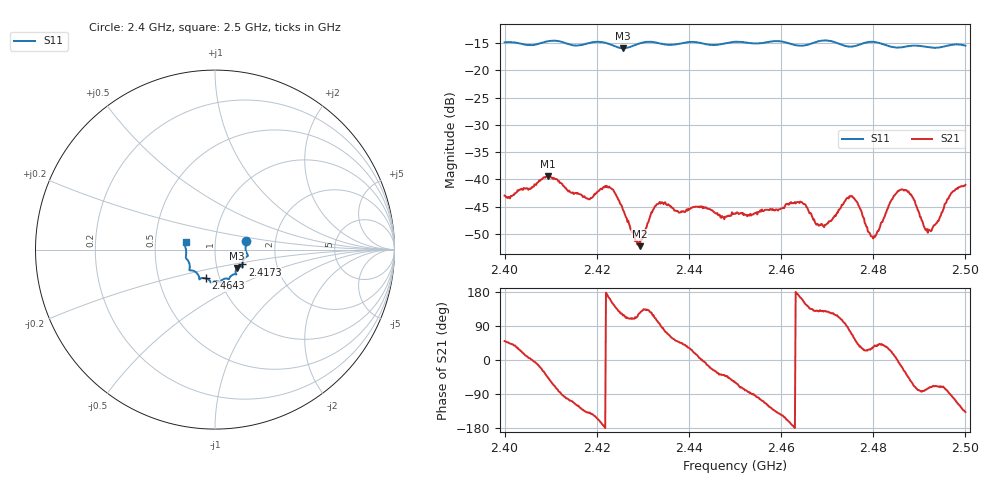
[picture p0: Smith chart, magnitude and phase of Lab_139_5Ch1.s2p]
# Hz S RI R 50
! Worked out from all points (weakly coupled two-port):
!   601 points, 2.4 GHz to 2.5 GHz, reference 50 ohm
!   highest |S21| = -39.44 dB at 2.4093 GHz (marker M1); lowest = -52.2 dB at 2.4293 GHz (marker M2)
!   lowest |S11| = -15.9 dB at 2.4257 GHz (marker M3), VSWR 1.38, Z = 62.4 - j13.1 ohm
!   |S11| at or under -10 dB: start of sweep to end of sweep
!   S12 and S22 are empty: the file has one direction only
!   S11 on the Smith chart (normalised r, x): 2.4 GHz: 1.41, +0.14; 2.4173 GHz: 1.34, -0.23; 2.4643 GHz: 0.86, -0.28; 2.5 GHz: 0.72, +0.06
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2.4e9  0.1736 0.0489  0.00458 0.00543  0 0  0 0
2.409333e9  0.1823 -0.0295  0.00754 -0.00755  0 0  0 0
2.416667e9  0.1533 -0.075  -0.00454 -0.0056  0 0  0 0
2.417333e9  0.1525 -0.0826  -0.00492 -0.00497  0 0  0 0
2.422333e9  0.1493 -0.0944  -0.00839 0.00136  0 0  0 0
2.425667e9  0.1225 -0.1021  -0.00245 0.00467  0 0  0 0
2.428333e9  0.1151 -0.1262  -0.00106 0.0025  0 0  0 0
2.429333e9  0.1164 -0.1332  -0.00136 0.00203  0 0  0 0
2.433333e9  0.1131 -0.1369  -0.000921 0.00588  0 0  0 0
2.45e9  0.0292 -0.1804  0.0025 -0.00416  0 0  0 0
2.464333e9  -0.0502 -0.1604  -0.00596 0.00174  0 0  0 0
2.466667e9  -0.076 -0.1592  -0.00325 0.00331  0 0  0 0
2.469667e9  -0.0877 -0.1661  -0.00244 0.00296  0 0  0 0
2.475333e9  -0.109 -0.124  0.00267 0.00652  0 0  0 0
2.48e9  -0.1429 -0.1136  0.00236 0.00163  0 0  0 0
2.483333e9  -0.1406 -0.09  0.00502 0.00277  0 0  0 0
2.485333e9  -0.1463 -0.0689  0.00781 -0.000212  0 0  0 0
2.487333e9  -0.1569 -0.0543  0.00598 -0.00507  0 0  0 0
2.491333e9  -0.1615 -0.0317  0.000685 -0.00339  0 0  0 0
2.492333e9  -0.1609 -0.0218  0.00109 -0.00322  0 0  0 0
2.497e9  -0.1692 0.026  -0.000588 -0.00752  0 0  0 0
2.5e9  -0.1633 0.0414  -0.00653 -0.00605  0 0  0 0
